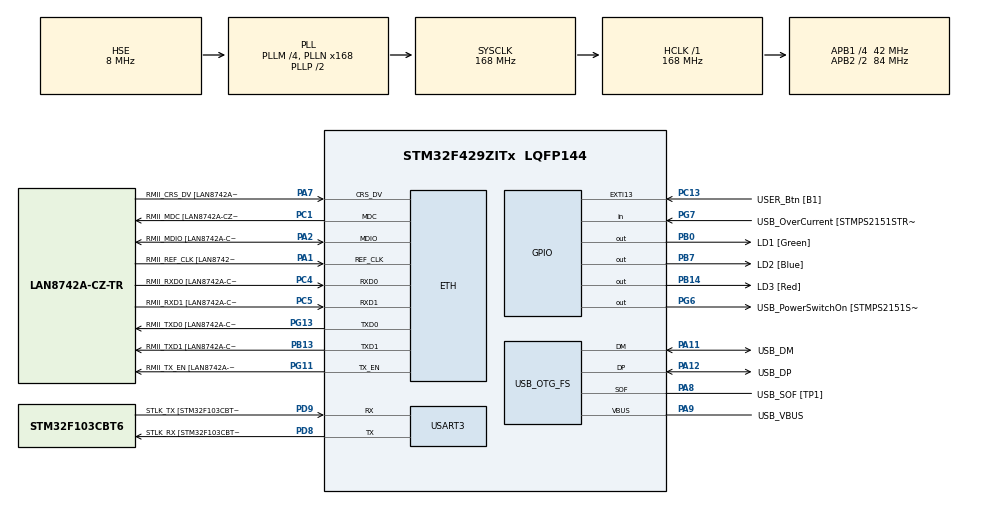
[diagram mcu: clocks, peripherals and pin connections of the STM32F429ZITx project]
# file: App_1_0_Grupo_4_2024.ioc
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ETH.MediaInterface=HAL_ETH_RMII_MODE
ETH.PHY_Name=LAN8742A_PHY_ADDRESS
ETH.PHY_Value=0
ETH.PhyAddress=0
Mcu.Family=STM32F4
Mcu.Name=STM32F429ZITx
Mcu.Package=LQFP144
NVIC.PriorityGroup=NVIC_PRIORITYGROUP_4
PA1.GPIO_Label=RMII_REF_CLK [LAN8742A-CZ-TR_REFCLK0]
PA1.Mode=RMII
PA1.Signal=ETH_REF_CLK
PA10.GPIO_Label=USB_ID
PA10.Signal=USB_OTG_FS_ID
PA11.GPIO_Label=USB_DM
PA11.Mode=Device_Only
PA11.Signal=USB_OTG_FS_DM
PA12.GPIO_Label=USB_DP
PA12.Mode=Device_Only
PA12.Signal=USB_OTG_FS_DP
PA13.GPIO_Label=TMS
PA13.Mode=Serial_Wire
PA13.Signal=SYS_JTMS-SWDIO
PA14.GPIO_Label=TCK
PA14.Mode=Serial_Wire
PA14.Signal=SYS_JTCK-SWCLK
PA2.GPIO_Label=RMII_MDIO [LAN8742A-CZ-TR_MDIO]
PA2.Mode=RMII
PA2.Signal=ETH_MDIO
PA7.GPIO_Label=RMII_CRS_DV [LAN8742A-CZ-TR_CRS_DV]
PA7.Mode=RMII
PA7.Signal=ETH_CRS_DV
PA8.GPIO_Label=USB_SOF [TP1]
PA8.Mode=Activate_SOF_FS
PA8.Signal=USB_OTG_FS_SOF
PA9.GPIO_Label=USB_VBUS
PA9.Mode=Activate_VBUS
PA9.Signal=USB_OTG_FS_VBUS
PB0.GPIO_Label=LD1 [Green]
PB0.Signal=GPIO_Output
PB13.GPIO_Label=RMII_TXD1 [LAN8742A-CZ-TR_TXD1]
PB13.Mode=RMII
PB13.Signal=ETH_TXD1
PB14.GPIO_Label=LD3 [Red]
PB14.Signal=GPIO_Output
PB7.GPIO_Label=LD2 [Blue]
PB7.Signal=GPIO_Output
PC1.GPIO_Label=RMII_MDC [LAN8742A-CZ-TR_MDC]
PC1.Mode=RMII
PC1.Signal=ETH_MDC
PC13.GPIO_Label=USER_Btn [B1]
PC13.Signal=GPXTI13
PC14/OSC32_IN.Mode=LSE-External-Oscillator
PC14/OSC32_IN.Signal=RCC_OSC32_IN
PC15/OSC32_OUT.Mode=LSE-External-Oscillator
PC15/OSC32_OUT.Signal=RCC_OSC32_OUT
PC4.GPIO_Label=RMII_RXD0 [LAN8742A-CZ-TR_RXD0]
PC4.Mode=RMII
PC4.Signal=ETH_RXD0
PC5.GPIO_Label=RMII_RXD1 [LAN8742A-CZ-TR_RXD1]
PC5.Mode=RMII
PC5.Signal=ETH_RXD1
PD8.GPIO_Label=STLK_RX [STM32F103CBT6_PA3]
PD8.Mode=Asynchronous
PD8.Signal=USART3_TX
PD9.GPIO_Label=STLK_TX [STM32F103CBT6_PA2]
PD9.Mode=Asynchronous
PD9.Signal=USART3_RX
PG11.GPIO_Label=RMII_TX_EN [LAN8742A-CZ-TR_TXEN]
PG11.Mode=RMII
PG11.Signal=ETH_TX_EN
PG13.GPIO_Label=RMII_TXD0 [LAN8742A-CZ-TR_TXD0]
PG13.Mode=RMII
PG13.Signal=ETH_TXD0
PG6.GPIO_Label=USB_PowerSwitchOn [STMPS2151STR_EN]
PG6.Signal=GPIO_Output
PG7.GPIO_Label=USB_OverCurrent [STMPS2151STR_FAULT]
PG7.Signal=GPIO_Input
PH0/OSC_IN.GPIO_Label=MCO [STM32F103CBT6_PA8]
PH0/OSC_IN.Mode=HSE-External-Clock-Source
PH0/OSC_IN.Signal=RCC_OSC_IN
PH1/OSC_OUT.Mode=HSE-External-Clock-Source
PH1/OSC_OUT.Signal=RCC_OSC_OUT
ProjectManager.HeapSize=0x200
ProjectManager.StackSize=0x400
ProjectManager.TargetToolchain=STM32CubeIDE
RCC.48MHZClocksFreq_Value=48000000
RCC.AHBFreq_Value=168000000
RCC.APB1CLKDivider=RCC_HCLK_DIV4
RCC.APB1Freq_Value=42000000
RCC.APB1TimFreq_Value=84000000
RCC.APB2CLKDivider=RCC_HCLK_DIV2
RCC.APB2Freq_Value=84000000
RCC.APB2TimCLKDivider=2
RCC.APB2TimFreq_Value=168000000
RCC.CortexFreq_Value=168000000
RCC.HCLKFreq_Value=168000000
RCC.HSE_VALUE=8000000
RCC.HSI_VALUE=16000000
RCC.PLLM=4
RCC.PLLMUL=RCC_PLL_MUL9
RCC.PLLN=168
RCC.PLLQ=7
RCC.PRESCALERUSB=RCC_USBCLKSOURCE_PLL_DIV1_5
RCC.SYSCLKFreq_VALUE=168000000
RCC.SYSCLKSource=RCC_SYSCLKSOURCE_PLLCLK
RCC.SYSCLKSourceVirtual=RCC_SYSCLKSOURCE_PLLCLK
RCC.USBFreq_Value=48000000
RCC.VCOOutputFreq_Value=336000000
USART3.VirtualMode=VM_ASYNC
USB_OTG_FS.VirtualMode=Device_Only
board=NUCLEO-F429ZI

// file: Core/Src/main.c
/* USER CODE BEGIN Header */
/**
  ******************************************************************************
  * @file           : main.c
  * @brief          : Main program body
  ******************************************************************************
  * @attention
  *
  * Copyright (c) 2024 STMicroelectronics.
  * All rights reserved.
  *
  * This software is licensed under terms that can be found in the LICENSE file
  * in the root directory of this software component.
  * If no LICENSE file comes with this software, it is provided AS-IS.
  *
  ******************************************************************************
  */
/* USER CODE END Header */
#include "main.h"
#include "string.h"
#include "stm32f4xx_hal_gpio.h"

/* USER CODE BEGIN PD */
#define LD1_Pin GPIO_PIN_0

/* USER CODE END PD */

/* USER CODE BEGIN PM */
void delayInit(delay_t *delay, tick_t duration) {
    delay->startTime = 0;
    delay->duration = duration;
    delay->running = false;
}
bool_t delayRead(delay_t *delay) {
    if (!delay->running) {
        delay->startTime = HAL_GetTick();
        delay->running = true;
        return false; // Retorna falso al iniciar el retardo
            } else {
                if (HAL_GetTick() - delay->startTime >= delay->duration) {
                    delay->running = false;
                    return true; // Retorna verdadero al finalizar el retardo
                } else {
                    return false; // Retorna falso si el retardo aún no ha finalizado
                }
            }
        }
void delayWrite(delay_t *delay, tick_t duration) {
    delay->duration = duration;
}
/* USER CODE END PM */

ETH_TxPacketConfig TxConfig;
ETH_DMADescTypeDef  DMARxDscrTab[ETH_RX_DESC_CNT]; /* Ethernet Rx DMA Descriptors */
ETH_DMADescTypeDef  DMATxDscrTab[ETH_TX_DESC_CNT]; /* Ethernet Tx DMA Descriptors */

ETH_HandleTypeDef heth;

UART_HandleTypeDef huart3;

PCD_HandleTypeDef hpcd_USB_OTG_FS;

void SystemClock_Config(void);
static void MX_GPIO_Init(void);
static void MX_ETH_Init(void);
static void MX_USART3_UART_Init(void);
static void MX_USB_OTG_FS_PCD_Init(void);

int main(void)
{

  /* USER CODE BEGIN 1 */
delay_t myDelay;
delayInit(&myDelay, 1000); // Retardo de 1 segundo
  /* USER CODE END 1 */

  /* MCU Configuration--------------------------------------------------------*/

  /* Reset of all peripherals, Initializes the Flash interface and the Systick. */
  HAL_Init();

  /* Configure the system clock */
  SystemClock_Config();

  /* Initialize all configured peripherals */
  MX_GPIO_Init();
  MX_ETH_Init();
  MX_USART3_UART_Init();
  MX_USB_OTG_FS_PCD_Init();

  /* Infinite loop */
  while (1)
  {
	  if (delayRead(&myDelay)) // Código a ejecutar cuando el retardo finaliza
	  {
		  HAL_GPIO_TogglePin(GPIOB, GPIO_PIN_0); // Ejemplo: Parpadear un LED
	          }

  }
}

void SystemClock_Config(void)
{
  RCC_OscInitTypeDef RCC_OscInitStruct = {0};
  RCC_ClkInitTypeDef RCC_ClkInitStruct = {0};

  /** Configure the main internal regulator output voltage
  */
  __HAL_RCC_PWR_CLK_ENABLE();
  __HAL_PWR_VOLTAGESCALING_CONFIG(PWR_REGULATOR_VOLTAGE_SCALE1);

  /** Initializes the RCC Oscillators according to the specified parameters
  * in the RCC_OscInitTypeDef structure.
  */
  RCC_OscInitStruct.OscillatorType = RCC_OSCILLATORTYPE_HSE;
  RCC_OscInitStruct.HSEState = RCC_HSE_BYPASS;
  RCC_OscInitStruct.PLL.PLLState = RCC_PLL_ON;
  RCC_OscInitStruct.PLL.PLLSource = RCC_PLLSOURCE_HSE;
  RCC_OscInitStruct.PLL.PLLM = 4;
  RCC_OscInitStruct.PLL.PLLN = 168;
  RCC_OscInitStruct.PLL.PLLP = RCC_PLLP_DIV2;
  RCC_OscInitStruct.PLL.PLLQ = 7;
  if (HAL_RCC_OscConfig(&RCC_OscInitStruct) != HAL_OK)
  {
    Error_Handler();
  }

  /** Initializes the CPU, AHB and APB buses clocks
  */
  RCC_ClkInitStruct.ClockType = RCC_CLOCKTYPE_HCLK|RCC_CLOCKTYPE_SYSCLK
                              |RCC_CLOCKTYPE_PCLK1|RCC_CLOCKTYPE_PCLK2;
  RCC_ClkInitStruct.SYSCLKSource = RCC_SYSCLKSOURCE_PLLCLK;
  RCC_ClkInitStruct.AHBCLKDivider = RCC_SYSCLK_DIV1;
  RCC_ClkInitStruct.APB1CLKDivider = RCC_HCLK_DIV4;
  RCC_ClkInitStruct.APB2CLKDivider = RCC_HCLK_DIV2;

  if (HAL_RCC_ClockConfig(&RCC_ClkInitStruct, FLASH_LATENCY_5) != HAL_OK)
  {
    Error_Handler();
  }
}

static void MX_ETH_Init(void)
{

   static uint8_t MACAddr[6];

  heth.Instance = ETH;
  MACAddr[0] = 0x00;
  MACAddr[1] = 0x80;
  MACAddr[2] = 0xE1;
  MACAddr[3] = 0x00;
  MACAddr[4] = 0x00;
  MACAddr[5] = 0x00;
  heth.Init.MACAddr = &MACAddr[0];
  heth.Init.MediaInterface = HAL_ETH_RMII_MODE;
  heth.Init.TxDesc = DMATxDscrTab;
  heth.Init.RxDesc = DMARxDscrTab;
  heth.Init.RxBuffLen = 1524;

  if (HAL_ETH_Init(&heth) != HAL_OK)
  {
    Error_Handler();
  }

  memset(&TxConfig, 0 , sizeof(ETH_TxPacketConfig));
  TxConfig.Attributes = ETH_TX_PACKETS_FEATURES_CSUM | ETH_TX_PACKETS_FEATURES_CRCPAD;
  TxConfig.ChecksumCtrl = ETH_CHECKSUM_IPHDR_PAYLOAD_INSERT_PHDR_CALC;
  TxConfig.CRCPadCtrl = ETH_CRC_PAD_INSERT;

}

static void MX_USART3_UART_Init(void)
{

  huart3.Instance = USART3;
  huart3.Init.BaudRate = 115200;
  huart3.Init.WordLength = UART_WORDLENGTH_8B;
  huart3.Init.StopBits = UART_STOPBITS_1;
  huart3.Init.Parity = UART_PARITY_NONE;
  huart3.Init.Mode = UART_MODE_TX_RX;
  huart3.Init.HwFlowCtl = UART_HWCONTROL_NONE;
  huart3.Init.OverSampling = UART_OVERSAMPLING_16;
  if (HAL_UART_Init(&huart3) != HAL_OK)
  {
    Error_Handler();
  }

}

static void MX_USB_OTG_FS_PCD_Init(void)
{

  hpcd_USB_OTG_FS.Instance = USB_OTG_FS;
  hpcd_USB_OTG_FS.Init.dev_endpoints = 4;
  hpcd_USB_OTG_FS.Init.speed = PCD_SPEED_FULL;
  hpcd_USB_OTG_FS.Init.dma_enable = DISABLE;
  hpcd_USB_OTG_FS.Init.phy_itface = PCD_PHY_EMBEDDED;
  hpcd_USB_OTG_FS.Init.Sof_enable = ENABLE;
  hpcd_USB_OTG_FS.Init.low_power_enable = DISABLE;
  hpcd_USB_OTG_FS.Init.lpm_enable = DISABLE;
  hpcd_USB_OTG_FS.Init.vbus_sensing_enable = ENABLE;
  hpcd_USB_OTG_FS.Init.use_dedicated_ep1 = DISABLE;
  if (HAL_PCD_Init(&hpcd_USB_OTG_FS) != HAL_OK)
  {
    Error_Handler();
  }

}

static void MX_GPIO_Init(void)
{
  GPIO_InitTypeDef GPIO_InitStruct = {0};

  /* GPIO Ports Clock Enable */
  __HAL_RCC_GPIOC_CLK_ENABLE();
  __HAL_RCC_GPIOH_CLK_ENABLE();
  __HAL_RCC_GPIOA_CLK_ENABLE();
  __HAL_RCC_GPIOB_CLK_ENABLE();
  __HAL_RCC_GPIOD_CLK_ENABLE();
  __HAL_RCC_GPIOG_CLK_ENABLE();

  /*Configure GPIO pin Output Level */
  HAL_GPIO_WritePin(GPIOB, LD1_Pin|LD3_Pin|LD2_Pin, GPIO_PIN_RESET);

  /*Configure GPIO pin Output Level */
  HAL_GPIO_WritePin(USB_PowerSwitchOn_GPIO_Port, USB_PowerSwitchOn_Pin, GPIO_PIN_RESET);

  /*Configure GPIO pin : USER_Btn_Pin */
  GPIO_InitStruct.Pin = USER_Btn_Pin;
  GPIO_InitStruct.Mode = GPIO_MODE_IT_RISING;
  GPIO_InitStruct.Pull = GPIO_NOPULL;
  HAL_GPIO_Init(USER_Btn_GPIO_Port, &GPIO_InitStruct);

  /*Configure GPIO pins : LD1_Pin LD3_Pin LD2_Pin */
  GPIO_InitStruct.Pin = LD1_Pin|LD3_Pin|LD2_Pin;
  GPIO_InitStruct.Mode = GPIO_MODE_OUTPUT_PP;
  GPIO_InitStruct.Pull = GPIO_NOPULL;
  GPIO_InitStruct.Speed = GPIO_SPEED_FREQ_LOW;
  HAL_GPIO_Init(GPIOB, &GPIO_InitStruct);

  /*Configure GPIO pin : USB_PowerSwitchOn_Pin */
  GPIO_InitStruct.Pin = USB_PowerSwitchOn_Pin;
  GPIO_InitStruct.Mode = GPIO_MODE_OUTPUT_PP;
  GPIO_InitStruct.Pull = GPIO_NOPULL;
  GPIO_InitStruct.Speed = GPIO_SPEED_FREQ_LOW;
  HAL_GPIO_Init(USB_PowerSwitchOn_GPIO_Port, &GPIO_InitStruct);

  /*Configure GPIO pin : USB_OverCurrent_Pin */
  GPIO_InitStruct.Pin = USB_OverCurrent_Pin;
  GPIO_InitStruct.Mode = GPIO_MODE_INPUT;
  GPIO_InitStruct.Pull = GPIO_NOPULL;
  HAL_GPIO_Init(USB_OverCurrent_GPIO_Port, &GPIO_InitStruct);

}

void Error_Handler(void)
{
  __disable_irq();
  while (1)
  {
  }
}
